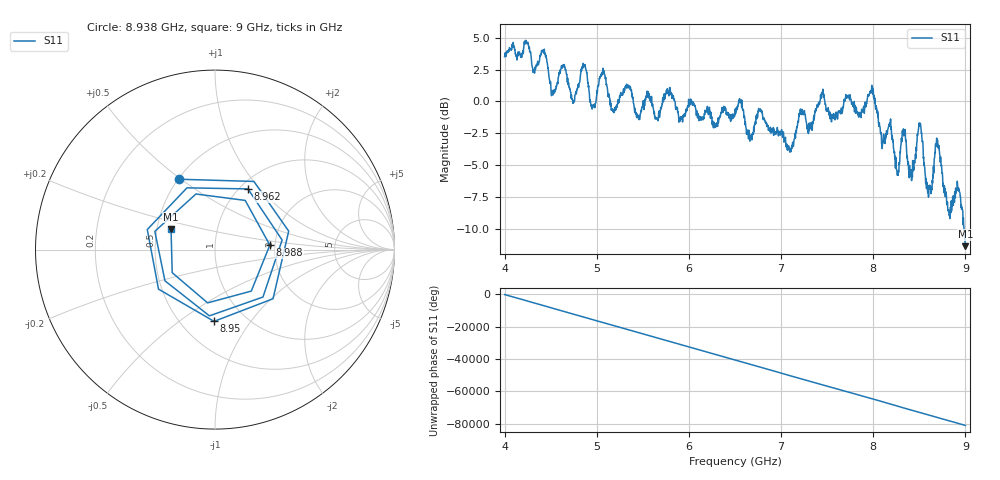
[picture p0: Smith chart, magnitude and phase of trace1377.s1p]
! Created with skrf 1.8.0 (http://scikit-rf.org).
# Hz S RI R 50.0
!freq ReS11 ImS11
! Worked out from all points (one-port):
!   1601 points, 4 GHz to 9 GHz, reference 50 ohm
!   lowest |S11| = -11.3 dB at 9 GHz (marker M1), VSWR 1.74, Z = 29.6 + j7.38 ohm
!   |S11| at or under -10 dB: 8.985397 GHz to end of sweep
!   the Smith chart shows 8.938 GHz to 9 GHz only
!   S11 on the Smith chart (normalised r, x): 8.938 GHz: 0.51, +0.49; 8.95 GHz: 0.72, -0.68; 8.962 GHz: 1.09, +0.87; 8.988 GHz: 1.88, +0.10; 9 GHz: 0.59, +0.15
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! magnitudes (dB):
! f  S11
! 4 GHz  3.5
! 4.425 GHz  4.0
! 4.528 GHz  0.9
! 4.625 GHz  2.6
! 4.741 GHz  -0.1
! 4.856 GHz  2.7
! 4.956 GHz  -0.3
! 5.059 GHz  2.3
! 5.25 GHz  0.5
! 5.875 GHz  -0.5
! 6.5 GHz  -1.0
! 7.125 GHz  -3.2
! 7.447 GHz  0.6
! 7.75 GHz  0.5
! 7.988 GHz  0.7
! 8.259 GHz  -5.6
! 8.328 GHz  -2.2
! 8.375 GHz  -4.9
! 8.422 GHz  -5.5
! 8.503 GHz  -1.9
! 8.603 GHz  -6.7
! 8.694 GHz  -3.2
! 8.819 GHz  -8.7
! 8.938 GHz  -7.1
! 8.95 GHz  -8.0
! 8.962 GHz  -8.3
! 8.988 GHz  -10.3
! 9 GHz  -11.3
